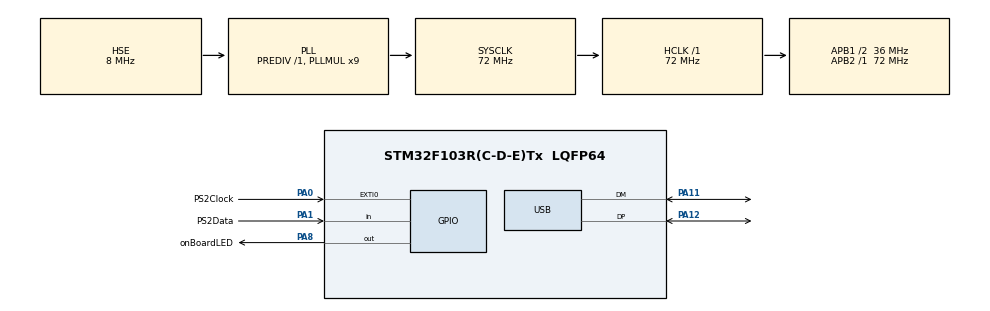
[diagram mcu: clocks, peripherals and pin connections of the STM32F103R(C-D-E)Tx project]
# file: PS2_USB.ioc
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Mcu.Family=STM32F1
Mcu.Name=STM32F103R(C-D-E)Tx
Mcu.Package=LQFP64
NVIC.EXTI0_IRQn=true\:0\:0\:false\:false\:true\:true\:true
NVIC.PriorityGroup=NVIC_PRIORITYGROUP_4
NVIC.USB_LP_CAN1_RX0_IRQn=true\:0\:0\:false\:false\:true\:false\:true
PA0-WKUP.GPIO_Label=PS2Clock
PA0-WKUP.GPIO_ModeDefaultEXTI=GPIO_MODE_IT_FALLING
PA0-WKUP.GPIO_PuPd=GPIO_NOPULL
PA0-WKUP.Signal=GPXTI0
PA1.GPIO_Label=PS2Data
PA1.GPIO_PuPd=GPIO_NOPULL
PA1.Signal=GPIO_Input
PA11.Mode=Device
PA11.Signal=USB_DM
PA12.Mode=Device
PA12.Signal=USB_DP
PA13.Mode=Trace_Asynchronous_SW
PA13.Signal=SYS_JTMS-SWDIO
PA14.Mode=Trace_Asynchronous_SW
PA14.Signal=SYS_JTCK-SWCLK
PA8.GPIO_Label=onBoardLED
PA8.Signal=GPIO_Output
PB3.Mode=Trace_Asynchronous_SW
PB3.Signal=SYS_JTDO-TRACESWO
PD0-OSC_IN.Mode=HSE-External-Oscillator
PD0-OSC_IN.Signal=RCC_OSC_IN
PD1-OSC_OUT.Mode=HSE-External-Oscillator
PD1-OSC_OUT.Signal=RCC_OSC_OUT
ProjectManager.HeapSize=0x200
ProjectManager.StackSize=0x400
ProjectManager.TargetToolchain=STM32CubeIDE
RCC.AHBFreq_Value=72000000
RCC.APB1CLKDivider=RCC_HCLK_DIV2
RCC.APB1Freq_Value=36000000
RCC.APB1TimFreq_Value=72000000
RCC.APB2Freq_Value=72000000
RCC.APB2TimFreq_Value=72000000
RCC.HCLKFreq_Value=72000000
RCC.PLLMUL=RCC_PLL_MUL9
RCC.SYSCLKFreq_VALUE=72000000
RCC.SYSCLKSource=RCC_SYSCLKSOURCE_PLLCLK
RCC.USBFreq_Value=48000000
RCC.USBPrescaler=RCC_USBCLKSOURCE_PLL_DIV1_5
USB_DEVICE.CLASS_NAME_FS=HID
USB_DEVICE.MANUFACTURER_STRING=JMDMahdi
USB_DEVICE.PID_HID_FS=51322
USB_DEVICE.PRODUCT_STRING_HID_FS=PS2 To USB Converter
USB_DEVICE.VID=5511
USB_DEVICE.VirtualMode=Hid
USB_DEVICE.VirtualModeFS=Hid_FS
VP_USB_DEVICE_VS_USB_DEVICE_HID_FS.Mode=HID_FS
board=custom

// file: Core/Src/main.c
/* USER CODE BEGIN Header */
/**
 ******************************************************************************
 * @file           : main.c
 * @brief          : Main program body
 ******************************************************************************
 * @attention
 *
 * <h2><center>&copy; Copyright (c) 2020 STMicroelectronics.
 * All rights reserved.</center></h2>
 *
 * This software component is licensed by ST under BSD 3-Clause license,
 * the "License"; You may not use this file except in compliance with the
 * License. You may obtain a copy of the License at:
 *                        opensource.org/licenses/BSD-3-Clause
 *
 ******************************************************************************
 */
/* USER CODE END Header */

#include "main.h"
#include "usb_device.h"

/* USER CODE BEGIN Includes */

#include "usbd_hid.h"

/* USER CODE END Includes */

/* USER CODE BEGIN PV */
extern USBD_HandleTypeDef hUsbDeviceFS;
uint8_t convertKeys[132], convertE0Keys[126], key;
GPIO_PinState dataPinState;
unsigned char PS2Data = 0, bitCounter = 11, isDeviceReady = 0, i = 0, isF0 = 0, isE0 = 0;
uint8_t HIDData[8] = { 0 }, lastHIDData[8] = { 0 };
/* USER CODE END PV */

void SystemClock_Config(void);
static void MX_GPIO_Init(void);
/* USER CODE BEGIN PFP */
void defineconvertKeys(void);
void convertToHID(unsigned char data);
char isReportedBefore();
void addKeyToReport(uint8_t k);
void removeKeyFromReport(uint8_t k);
/* USER CODE END PFP */

int main(void)
{

  /* MCU Configuration--------------------------------------------------------*/

  /* Reset of all peripherals, Initializes the Flash interface and the Systick. */
  HAL_Init();

  /* USER CODE BEGIN Init */
	defineconvertKeys();
  /* USER CODE END Init */

  /* Configure the system clock */
  SystemClock_Config();

  /* Initialize all configured peripherals */
  MX_GPIO_Init();
  MX_USB_DEVICE_Init();
  /* USER CODE BEGIN 2 */

	// Toggle onboard LED if no device connected
	while (!isDeviceReady) {
		HAL_GPIO_TogglePin(onBoardLED_GPIO_Port, onBoardLED_Pin);
		HAL_Delay(500);
	}

  /* USER CODE END 2 */

  /* Infinite loop */
	while (1) {

	}
}

void SystemClock_Config(void)
{
  RCC_OscInitTypeDef RCC_OscInitStruct = {0};
  RCC_ClkInitTypeDef RCC_ClkInitStruct = {0};
  RCC_PeriphCLKInitTypeDef PeriphClkInit = {0};

  /** Initializes the CPU, AHB and APB busses clocks
  */
  RCC_OscInitStruct.OscillatorType = RCC_OSCILLATORTYPE_HSE;
  RCC_OscInitStruct.HSEState = RCC_HSE_ON;
  RCC_OscInitStruct.HSEPredivValue = RCC_HSE_PREDIV_DIV1;
  RCC_OscInitStruct.HSIState = RCC_HSI_ON;
  RCC_OscInitStruct.PLL.PLLState = RCC_PLL_ON;
  RCC_OscInitStruct.PLL.PLLSource = RCC_PLLSOURCE_HSE;
  RCC_OscInitStruct.PLL.PLLMUL = RCC_PLL_MUL9;
  if (HAL_RCC_OscConfig(&RCC_OscInitStruct) != HAL_OK)
  {
    Error_Handler();
  }
  /** Initializes the CPU, AHB and APB busses clocks
  */
  RCC_ClkInitStruct.ClockType = RCC_CLOCKTYPE_HCLK|RCC_CLOCKTYPE_SYSCLK
                              |RCC_CLOCKTYPE_PCLK1|RCC_CLOCKTYPE_PCLK2;
  RCC_ClkInitStruct.SYSCLKSource = RCC_SYSCLKSOURCE_PLLCLK;
  RCC_ClkInitStruct.AHBCLKDivider = RCC_SYSCLK_DIV1;
  RCC_ClkInitStruct.APB1CLKDivider = RCC_HCLK_DIV2;
  RCC_ClkInitStruct.APB2CLKDivider = RCC_HCLK_DIV1;

  if (HAL_RCC_ClockConfig(&RCC_ClkInitStruct, FLASH_LATENCY_2) != HAL_OK)
  {
    Error_Handler();
  }
  PeriphClkInit.PeriphClockSelection = RCC_PERIPHCLK_USB;
  PeriphClkInit.UsbClockSelection = RCC_USBCLKSOURCE_PLL_DIV1_5;
  if (HAL_RCCEx_PeriphCLKConfig(&PeriphClkInit) != HAL_OK)
  {
    Error_Handler();
  }
}

static void MX_GPIO_Init(void)
{
  GPIO_InitTypeDef GPIO_InitStruct = {0};

  /* GPIO Ports Clock Enable */
  __HAL_RCC_GPIOD_CLK_ENABLE();
  __HAL_RCC_GPIOA_CLK_ENABLE();
  __HAL_RCC_GPIOB_CLK_ENABLE();

  /*Configure GPIO pin Output Level */
  HAL_GPIO_WritePin(onBoardLED_GPIO_Port, onBoardLED_Pin, GPIO_PIN_RESET);

  /*Configure GPIO pin : PS2Clock_Pin */
  GPIO_InitStruct.Pin = PS2Clock_Pin;
  GPIO_InitStruct.Mode = GPIO_MODE_IT_FALLING;
  GPIO_InitStruct.Pull = GPIO_NOPULL;
  HAL_GPIO_Init(PS2Clock_GPIO_Port, &GPIO_InitStruct);

  /*Configure GPIO pin : PS2Data_Pin */
  GPIO_InitStruct.Pin = PS2Data_Pin;
  GPIO_InitStruct.Mode = GPIO_MODE_INPUT;
  GPIO_InitStruct.Pull = GPIO_NOPULL;
  HAL_GPIO_Init(PS2Data_GPIO_Port, &GPIO_InitStruct);

  /*Configure GPIO pin : onBoardLED_Pin */
  GPIO_InitStruct.Pin = onBoardLED_Pin;
  GPIO_InitStruct.Mode = GPIO_MODE_OUTPUT_PP;
  GPIO_InitStruct.Pull = GPIO_NOPULL;
  GPIO_InitStruct.Speed = GPIO_SPEED_FREQ_LOW;
  HAL_GPIO_Init(onBoardLED_GPIO_Port, &GPIO_InitStruct);

  /* EXTI interrupt init*/
  HAL_NVIC_SetPriority(EXTI0_IRQn, 0, 0);
  HAL_NVIC_EnableIRQ(EXTI0_IRQn);

}

/* USER CODE BEGIN 4 */

/**
 * @brief This is used by puts and printf to send data to SWV ITM console.
 */
int _write(int file, char *ptr, int len) {
	int i = 0;
	for (i = 0; i < len; i++)
		ITM_SendChar((*ptr++));
	return len;
}

/**
 * @brief This function defines convert key codes from PS/2 (array key) to USB HID (array value).
 * @param None
 * @retval None
 */
void defineconvertKeys() {
	// Convert keys from PS/2 (https://wiki.osdev.org/PS/2_Keyboard) to HID (https://www.usb.org/sites/default/files/documents/hut1_12v2.pdf)
	convertKeys[1] = 66;
	convertKeys[3] = 62;
	convertKeys[4] = 60;
	convertKeys[5] = 58;
	convertKeys[6] = 59;
	convertKeys[7] = 69;
	convertKeys[9] = 67;
	convertKeys[10] = 65;
	convertKeys[11] = 63;
	convertKeys[12] = 61;
	convertKeys[13] = 43;
	convertKeys[14] = 53;
	convertKeys[17] = 226;
	convertKeys[18] = 225;
	convertKeys[20] = 224;
	convertKeys[21] = 20;
	convertKeys[22] = 30;
	convertKeys[26] = 29;
	convertKeys[27] = 22;
	convertKeys[28] = 4;
	convertKeys[29] = 26;
	convertKeys[30] = 31;
	convertKeys[33] = 6;
	convertKeys[34] = 27;
	convertKeys[35] = 7;
	convertKeys[36] = 8;
	convertKeys[37] = 33;
	convertKeys[38] = 32;
	convertKeys[41] = 44;
	convertKeys[42] = 25;
	convertKeys[43] = 9;
	convertKeys[44] = 23;
	convertKeys[45] = 21;
	convertKeys[46] = 34;
	convertKeys[49] = 17;
	convertKeys[50] = 5;
	convertKeys[51] = 11;
	convertKeys[52] = 10;
	convertKeys[53] = 28;
	convertKeys[54] = 35;
	convertKeys[58] = 16;
	convertKeys[59] = 13;
	convertKeys[60] = 24;
	convertKeys[61] = 36;
	convertKeys[62] = 37;
	convertKeys[65] = 54;
	convertKeys[66] = 14;
	convertKeys[67] = 12;
	convertKeys[68] = 18;
	convertKeys[69] = 39;
	convertKeys[70] = 38;
	convertKeys[73] = 55;
	convertKeys[74] = 56;
	convertKeys[75] = 15;
	convertKeys[76] = 51;
	convertKeys[77] = 19;
	convertKeys[78] = 45;
	convertKeys[82] = 52;
	convertKeys[84] = 47;
	convertKeys[85] = 46;
	convertKeys[88] = 57;
	convertKeys[89] = 229;
	convertKeys[90] = 40;
	convertKeys[91] = 48;
	convertKeys[93] = 49;
	convertKeys[97] = 100;
	convertKeys[102] = 42;
	convertKeys[105] = 89;
	convertKeys[107] = 92;
	convertKeys[108] = 95;
	convertKeys[112] = 98;
	convertKeys[113] = 99;
	convertKeys[114] = 90;
	convertKeys[115] = 93;
	convertKeys[116] = 94;
	convertKeys[117] = 96;
	convertKeys[118] = 41;
	convertKeys[119] = 83;
	convertKeys[120] = 68;
	convertKeys[121] = 87;
	convertKeys[122] = 91;
	convertKeys[123] = 86;
	convertKeys[124] = 85;
	convertKeys[125] = 97;
	convertKeys[126] = 71;
	convertKeys[131] = 64;

	convertE0Keys[17] = 230;
	convertE0Keys[18] = 225;
	convertE0Keys[20] = 228;
	convertE0Keys[31] = 227;
	convertE0Keys[39] = 231;
	convertE0Keys[47] = 101;
	convertE0Keys[74] = 84;
	convertE0Keys[89] = 229;
	convertE0Keys[90] = 88;
	convertE0Keys[105] = 77;
	convertE0Keys[107] = 80;
	convertE0Keys[108] = 74;
	convertE0Keys[112] = 73;
	convertE0Keys[113] = 76;
	convertE0Keys[114] = 81;
	convertE0Keys[116] = 79;
	convertE0Keys[117] = 82;
	convertE0Keys[122] = 78;
	convertE0Keys[124] = 70;
	convertE0Keys[125] = 75;
}

/**
 * @brief  EXTI line detection callback.
 * @param  GPIO_Pin: Specifies the pins connected EXTI line
 * @retval None
 */
void HAL_GPIO_EXTI_Callback(uint16_t GPIO_Pin) {
	// Check if it is from clock pin
	if (GPIO_Pin == PS2Clock_Pin) {
		// First bits are for keyboard identifier, no need to send them over USB
		if (!isDeviceReady) {
			isDeviceReady = 1; // Now keyboard is connected and ready
			return;
		}
		// Read data pin state
		dataPinState = HAL_GPIO_ReadPin(PS2Data_GPIO_Port, PS2Data_Pin);
		// Write pin state on onboard led
		HAL_GPIO_WritePin(onBoardLED_GPIO_Port, onBoardLED_Pin, dataPinState);
		// Fill PS/2 data variable (LSB first) also ignore start bit, stop bit and parity bits
		if ((bitCounter < 11) && (bitCounter > 2)) {
			PS2Data >>= 1;
			if (dataPinState == GPIO_PIN_SET)
				PS2Data = PS2Data | 0x80; //
			else
				PS2Data = PS2Data & 0x7f; // else store a '0'
		}
		// Check if all bits received
		if (--bitCounter == 0) {
			// Convert to HID and send report
			convertToHID(PS2Data);
			// Reset PS2Data and bitCounter
			PS2Data = 0;
			bitCounter = 11;
		}
	}
}

/**
 * @brief  Convert PS2 data and send HID report.
 * @param  data: PS2 data to convert
 * @retval None
 */
void convertToHID(unsigned char data) {
	// Check if is a keyup (F0) or not
	if (!isF0) {
		switch (data) {
		case 0xF0: // F0 (key up)
			isF0 = 1;
			return;
			break;
		case 0xE0: // E0 keys
			isE0 = 1;
			return;
			break;
		case 0xE1: // Ignore  E1 keys
			return;
			break;
		default:
			// Check if is E0 key
			if (isE0) // If is E0 key convert with E0 key converter array
				key = convertE0Keys[data];
			else
				// If is not E0 key convert with key converter array
				key = convertKeys[data];
			addKeyToReport(key);
			break;
		}
	} else {
		switch (data) {
		case 0xF0: // Ignore these keys
		case 0xE0:
		case 0xE1:
			return;
			break;
		default:
			// Check if is E0 key
			if (isE0) // If is E0 key convert with E0 key converter array
				key = convertE0Keys[data];
			else
				// If is not E0 key convert with key converter array
				key = convertKeys[data];
			removeKeyFromReport(key);
			isF0 = 0;
			isE0 = 0;
			break;
		}
	}
	// Do not report if reported before
	if (!isReportedBefore()) {
		// Send HID report
		USBD_HID_SendReport(&hUsbDeviceFS, HIDData, 8);
		// Set last reported data
		for (i = 0; i < 8; i++)
			lastHIDData[i] = HIDData[i];
	}

}

/**
 * @brief  Check if HID data reported before.
 * @param  None
 * @retval 0 if not reported otherwise 1
 */
char isReportedBefore() {
	for (i = 0; i < 8; i++)
		if (lastHIDData[i] != HIDData[i])
			return 0;

	return 1;
}

/**
 * @brief  Add key to HIDData.
 * @param  code: HID key code
 * @retval None
 */
void addKeyToReport(uint8_t code) {
	// Check if is a modifier
	if (code >= 224)
		HIDData[0] |= 1 << (code - 224);
	else if (HIDData[2] != code && HIDData[3] != code && HIDData[4] != code
			&& HIDData[5] != code && HIDData[6] != code && HIDData[7] != code)
		for (i = 2; i < 8; ++i)
			if (HIDData[i] == 0) {
				HIDData[i] = code;
				break;
			}
}

/**
 * @brief  Remove key from HIDData.
 * @param  code: HID key code
 * @retval None
 */
void removeKeyFromReport(uint8_t code) {
	// Check if is a modifier
	if (code >= 224)
		HIDData[0] &= ~(1 << (code - 224));
	else
		for (i = 0; i < 6; ++i)
			if (HIDData[i] == code) {
				HIDData[i] = 0;
				break;
			}
}

/* USER CODE END 4 */

void Error_Handler(void)
{
}

/************************ (C) COPYRIGHT STMicroelectronics *****END OF FILE****/
